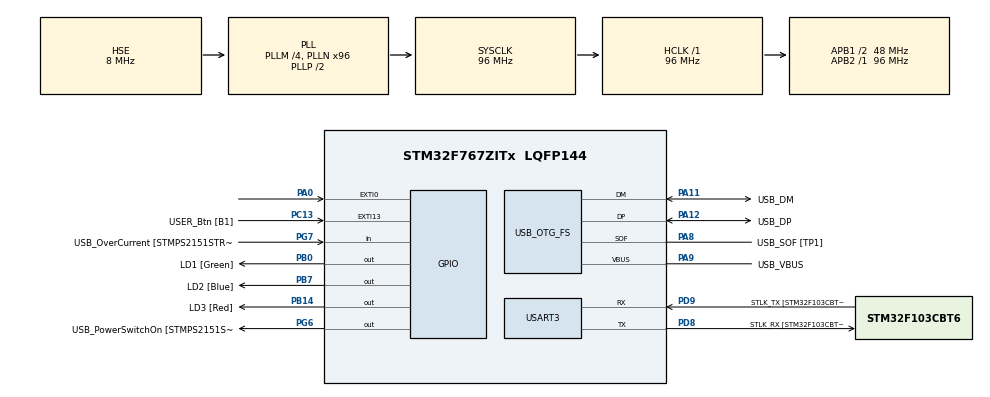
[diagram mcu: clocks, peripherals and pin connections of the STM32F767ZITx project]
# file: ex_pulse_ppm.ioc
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Mcu.Family=STM32F7
Mcu.Name=STM32F767ZITx
Mcu.Package=LQFP144
NVIC.EXTI0_IRQn=true\:0\:0\:false\:false\:true\:true\:true\:true
NVIC.PriorityGroup=NVIC_PRIORITYGROUP_4
NVIC.TIM2_IRQn=true\:0\:0\:false\:false\:true\:true\:true\:true
NVIC.USART3_IRQn=true\:0\:0\:false\:false\:true\:true\:true\:true
PA0/WKUP.GPIO_ModeDefaultEXTI=GPIO_MODE_IT_RISING
PA0/WKUP.Signal=GPXTI0
PA1.GPIO_Label=RMII_REF_CLK [LAN8742A-CZ-TR_REFCLK0]
PA1.Signal=ETH_REF_CLK
PA10.GPIO_Label=USB_ID
PA10.Signal=USB_OTG_FS_ID
PA11.GPIO_Label=USB_DM
PA11.Mode=Device_Only
PA11.Signal=USB_OTG_FS_DM
PA12.GPIO_Label=USB_DP
PA12.Mode=Device_Only
PA12.Signal=USB_OTG_FS_DP
PA13.GPIO_Label=TMS
PA13.Mode=Serial_Wire
PA13.Signal=SYS_JTMS-SWDIO
PA14.GPIO_Label=TCK
PA14.Mode=Serial_Wire
PA14.Signal=SYS_JTCK-SWCLK
PA2.GPIO_Label=RMII_MDIO [LAN8742A-CZ-TR_MDIO]
PA2.Signal=ETH_MDIO
PA7.GPIO_Label=RMII_CRS_DV [LAN8742A-CZ-TR_CRS_DV]
PA7.Signal=ETH_CRS_DV
PA8.GPIO_Label=USB_SOF [TP1]
PA8.Mode=Activate_SOF_FS
PA8.Signal=USB_OTG_FS_SOF
PA9.GPIO_Label=USB_VBUS
PA9.Mode=Activate_VBUS
PA9.Signal=USB_OTG_FS_VBUS
PB0.GPIO_Label=LD1 [Green]
PB0.Signal=GPIO_Output
PB13.GPIO_Label=RMII_TXD1 [LAN8742A-CZ-TR_TXD1]
PB13.Signal=ETH_TXD1
PB14.GPIO_Label=LD3 [Red]
PB14.Signal=GPIO_Output
PB3.GPIO_Label=SWO
PB3.Signal=SYS_JTDO-SWO
PB7.GPIO_Label=LD2 [Blue]
PB7.Signal=GPIO_Output
PC1.GPIO_Label=RMII_MDC [LAN8742A-CZ-TR_MDC]
PC1.Signal=ETH_MDC
PC13.GPIO_Label=USER_Btn [B1]
PC13.Signal=GPXTI13
PC14/OSC32_IN.Mode=LSE-External-Oscillator
PC14/OSC32_IN.Signal=RCC_OSC32_IN
PC15/OSC32_OUT.Mode=LSE-External-Oscillator
PC15/OSC32_OUT.Signal=RCC_OSC32_OUT
PC4.GPIO_Label=RMII_RXD0 [LAN8742A-CZ-TR_RXD0]
PC4.Signal=ETH_RXD0
PC5.GPIO_Label=RMII_RXD1 [LAN8742A-CZ-TR_RXD1]
PC5.Signal=ETH_RXD1
PD8.GPIO_Label=STLK_RX [STM32F103CBT6_PA3]
PD8.Mode=Asynchronous
PD8.Signal=USART3_TX
PD9.GPIO_Label=STLK_TX [STM32F103CBT6_PA2]
PD9.Mode=Asynchronous
PD9.Signal=USART3_RX
PG11.GPIO_Label=RMII_TX_EN [LAN8742A-CZ-TR_TXEN]
PG11.Signal=ETH_TX_EN
PG13.GPIO_Label=RMII_TXD0 [LAN8742A-CZ-TR_TXD0]
PG13.Signal=ETH_TXD0
PG6.GPIO_Label=USB_PowerSwitchOn [STMPS2151STR_EN]
PG6.Signal=GPIO_Output
PG7.GPIO_Label=USB_OverCurrent [STMPS2151STR_FAULT]
PG7.Signal=GPIO_Input
PH0/OSC_IN.GPIO_Label=MCO [STM32F103CBT6_PA8]
PH0/OSC_IN.Mode=HSE-External-Clock-Source
PH0/OSC_IN.Signal=RCC_OSC_IN
PH1/OSC_OUT.Mode=HSE-External-Clock-Source
PH1/OSC_OUT.Signal=RCC_OSC_OUT
ProjectManager.HeapSize=0x200
ProjectManager.StackSize=0x400
ProjectManager.TargetToolchain=STM32CubeIDE
RCC.48MHZClocksFreq_Value=24000000
RCC.AHBFreq_Value=96000000
RCC.APB1CLKDivider=RCC_HCLK_DIV2
RCC.APB1Freq_Value=48000000
RCC.APB1TimFreq_Value=96000000
RCC.APB2Freq_Value=96000000
RCC.APB2TimFreq_Value=96000000
RCC.CortexFreq_Value=96000000
RCC.HCLKFreq_Value=96000000
RCC.HSE_VALUE=8000000
RCC.HSI_VALUE=16000000
RCC.PLLM=4
RCC.PLLMUL=RCC_PLL_MUL9
RCC.PLLN=96
RCC.PLLQ=4
RCC.PRESCALERUSB=RCC_USBCLKSOURCE_PLL_DIV1_5
RCC.SYSCLKFreq_VALUE=96000000
RCC.SYSCLKSource=RCC_SYSCLKSOURCE_PLLCLK
RCC.SYSCLKSourceVirtual=RCC_SYSCLKSOURCE_PLLCLK
RCC.USBFreq_Value=48000000
RCC.VCOOutputFreq_Value=192000000
TIM2.Prescaler=96-1
USART3.VirtualMode-Asynchronous=VM_ASYNC
USB_OTG_FS.VirtualMode=Device_Only
VP_TIM2_VS_ClockSourceINT.Mode=Internal
board=NUCLEO-F767ZI

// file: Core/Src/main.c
/* USER CODE BEGIN Header */
/**
  ******************************************************************************
  * @file           : main.c
  * @brief          : Main program body
  ******************************************************************************
  * @attention
  *
  * Copyright (c) 2022 STMicroelectronics.
  * All rights reserved.
  *
  * This software is licensed under terms that can be found in the LICENSE file
  * in the root directory of this software component.
  * If no LICENSE file comes with this software, it is provided AS-IS.
  *
  ******************************************************************************
  */
/* USER CODE END Header */
#include "main.h"

/* USER CODE BEGIN Includes */
#include "app_main.h"

#include "core/pif_log.h"

/* USER CODE END Includes */

TIM_HandleTypeDef htim2;

UART_HandleTypeDef huart3;

PCD_HandleTypeDef hpcd_USB_OTG_FS;

/* USER CODE BEGIN PV */
static uint16_t s_usLogTx;

/* USER CODE END PV */

void SystemClock_Config(void);
static void MX_GPIO_Init(void);
static void MX_USART3_UART_Init(void);
static void MX_USB_OTG_FS_PCD_Init(void);
static void MX_TIM2_Init(void);

/* USER CODE BEGIN 0 */
uint32_t micros()
{
    return htim2.Instance->CNT;
}

BOOL actLogStartTransfer(PifComm* p_comm)
{
	uint8_t *pucData, ucState;

	s_usLogTx = 0;
	ucState = pifComm_StartGetTxData(p_comm, &pucData, &s_usLogTx);
	if (ucState & PIF_COMM_SEND_DATA_STATE_DATA) {
		HAL_UART_Transmit_IT(&huart3, pucData, s_usLogTx);
		return TRUE;
	}
	return FALSE;
}

void HAL_UART_TxCpltCallback(UART_HandleTypeDef *huart)
{
	uint8_t *pucData, ucState;

  if (huart->Instance == USART3) {
		ucState = pifComm_EndGetTxData(&g_comm_log, s_usLogTx);
		if (ucState & PIF_COMM_SEND_DATA_STATE_EMPTY) {
			pifComm_FinishTransfer(&g_comm_log);
		}
		else {
			s_usLogTx = 0;
			ucState = pifComm_StartGetTxData(&g_comm_log, &pucData, &s_usLogTx);
			if (ucState & PIF_COMM_SEND_DATA_STATE_DATA) {
				HAL_UART_Transmit_IT(huart, pucData, s_usLogTx);
			}
		}
	}
}

void actLedL(SWITCH sw)
{
	HAL_GPIO_WritePin(LD2_GPIO_Port, LD2_Pin, sw);
}

void HAL_GPIO_EXTI_Callback(uint16_t GPIO_Pin)
{
	pifPulse_sigTick(&g_pulse, micros());
}

/* USER CODE END 0 */

int main(void)
{

  /* MCU Configuration--------------------------------------------------------*/

  /* Reset of all peripherals, Initializes the Flash interface and the Systick. */
  HAL_Init();

  /* Configure the system clock */
  SystemClock_Config();

  /* Initialize all configured peripherals */
  MX_GPIO_Init();
  MX_USART3_UART_Init();
  MX_USB_OTG_FS_PCD_Init();
  MX_TIM2_Init();
  /* USER CODE BEGIN 2 */
  HAL_TIM_IC_Start_IT(&htim2, TIM_CHANNEL_1);

  appSetup(micros);

  /* USER CODE END 2 */

  /* Infinite loop */
  /* USER CODE BEGIN WHILE */
  while (1)
  {
	pifTaskManager_Loop();
    /* USER CODE END WHILE */

  }
}

void SystemClock_Config(void)
{
  RCC_OscInitTypeDef RCC_OscInitStruct = {0};
  RCC_ClkInitTypeDef RCC_ClkInitStruct = {0};

  /** Configure LSE Drive Capability
  */
  HAL_PWR_EnableBkUpAccess();
  /** Configure the main internal regulator output voltage
  */
  __HAL_RCC_PWR_CLK_ENABLE();
  __HAL_PWR_VOLTAGESCALING_CONFIG(PWR_REGULATOR_VOLTAGE_SCALE3);
  /** Initializes the RCC Oscillators according to the specified parameters
  * in the RCC_OscInitTypeDef structure.
  */
  RCC_OscInitStruct.OscillatorType = RCC_OSCILLATORTYPE_HSE;
  RCC_OscInitStruct.HSEState = RCC_HSE_BYPASS;
  RCC_OscInitStruct.PLL.PLLState = RCC_PLL_ON;
  RCC_OscInitStruct.PLL.PLLSource = RCC_PLLSOURCE_HSE;
  RCC_OscInitStruct.PLL.PLLM = 4;
  RCC_OscInitStruct.PLL.PLLN = 96;
  RCC_OscInitStruct.PLL.PLLP = RCC_PLLP_DIV2;
  RCC_OscInitStruct.PLL.PLLQ = 4;
  RCC_OscInitStruct.PLL.PLLR = 2;
  if (HAL_RCC_OscConfig(&RCC_OscInitStruct) != HAL_OK)
  {
    Error_Handler();
  }
  /** Activate the Over-Drive mode
  */
  if (HAL_PWREx_EnableOverDrive() != HAL_OK)
  {
    Error_Handler();
  }
  /** Initializes the CPU, AHB and APB buses clocks
  */
  RCC_ClkInitStruct.ClockType = RCC_CLOCKTYPE_HCLK|RCC_CLOCKTYPE_SYSCLK
                              |RCC_CLOCKTYPE_PCLK1|RCC_CLOCKTYPE_PCLK2;
  RCC_ClkInitStruct.SYSCLKSource = RCC_SYSCLKSOURCE_PLLCLK;
  RCC_ClkInitStruct.AHBCLKDivider = RCC_SYSCLK_DIV1;
  RCC_ClkInitStruct.APB1CLKDivider = RCC_HCLK_DIV2;
  RCC_ClkInitStruct.APB2CLKDivider = RCC_HCLK_DIV1;

  if (HAL_RCC_ClockConfig(&RCC_ClkInitStruct, FLASH_LATENCY_3) != HAL_OK)
  {
    Error_Handler();
  }
}

static void MX_TIM2_Init(void)
{

  TIM_ClockConfigTypeDef sClockSourceConfig = {0};
  TIM_MasterConfigTypeDef sMasterConfig = {0};

  htim2.Instance = TIM2;
  htim2.Init.Prescaler = 96-1;
  htim2.Init.CounterMode = TIM_COUNTERMODE_UP;
  htim2.Init.Period = 4294967295;
  htim2.Init.ClockDivision = TIM_CLOCKDIVISION_DIV1;
  htim2.Init.AutoReloadPreload = TIM_AUTORELOAD_PRELOAD_DISABLE;
  if (HAL_TIM_Base_Init(&htim2) != HAL_OK)
  {
    Error_Handler();
  }
  sClockSourceConfig.ClockSource = TIM_CLOCKSOURCE_INTERNAL;
  if (HAL_TIM_ConfigClockSource(&htim2, &sClockSourceConfig) != HAL_OK)
  {
    Error_Handler();
  }
  sMasterConfig.MasterOutputTrigger = TIM_TRGO_RESET;
  sMasterConfig.MasterSlaveMode = TIM_MASTERSLAVEMODE_DISABLE;
  if (HAL_TIMEx_MasterConfigSynchronization(&htim2, &sMasterConfig) != HAL_OK)
  {
    Error_Handler();
  }

}

static void MX_USART3_UART_Init(void)
{

  huart3.Instance = USART3;
  huart3.Init.BaudRate = 115200;
  huart3.Init.WordLength = UART_WORDLENGTH_8B;
  huart3.Init.StopBits = UART_STOPBITS_1;
  huart3.Init.Parity = UART_PARITY_NONE;
  huart3.Init.Mode = UART_MODE_TX_RX;
  huart3.Init.HwFlowCtl = UART_HWCONTROL_NONE;
  huart3.Init.OverSampling = UART_OVERSAMPLING_16;
  huart3.Init.OneBitSampling = UART_ONE_BIT_SAMPLE_DISABLE;
  huart3.AdvancedInit.AdvFeatureInit = UART_ADVFEATURE_NO_INIT;
  if (HAL_UART_Init(&huart3) != HAL_OK)
  {
    Error_Handler();
  }

}

static void MX_USB_OTG_FS_PCD_Init(void)
{

  hpcd_USB_OTG_FS.Instance = USB_OTG_FS;
  hpcd_USB_OTG_FS.Init.dev_endpoints = 6;
  hpcd_USB_OTG_FS.Init.speed = PCD_SPEED_FULL;
  hpcd_USB_OTG_FS.Init.dma_enable = DISABLE;
  hpcd_USB_OTG_FS.Init.phy_itface = PCD_PHY_EMBEDDED;
  hpcd_USB_OTG_FS.Init.Sof_enable = ENABLE;
  hpcd_USB_OTG_FS.Init.low_power_enable = DISABLE;
  hpcd_USB_OTG_FS.Init.lpm_enable = DISABLE;
  hpcd_USB_OTG_FS.Init.vbus_sensing_enable = ENABLE;
  hpcd_USB_OTG_FS.Init.use_dedicated_ep1 = DISABLE;
  if (HAL_PCD_Init(&hpcd_USB_OTG_FS) != HAL_OK)
  {
    Error_Handler();
  }

}

static void MX_GPIO_Init(void)
{
  GPIO_InitTypeDef GPIO_InitStruct = {0};

  /* GPIO Ports Clock Enable */
  __HAL_RCC_GPIOC_CLK_ENABLE();
  __HAL_RCC_GPIOH_CLK_ENABLE();
  __HAL_RCC_GPIOA_CLK_ENABLE();
  __HAL_RCC_GPIOB_CLK_ENABLE();
  __HAL_RCC_GPIOD_CLK_ENABLE();
  __HAL_RCC_GPIOG_CLK_ENABLE();

  /*Configure GPIO pin Output Level */
  HAL_GPIO_WritePin(GPIOB, LD1_Pin|LD3_Pin|LD2_Pin, GPIO_PIN_RESET);

  /*Configure GPIO pin Output Level */
  HAL_GPIO_WritePin(USB_PowerSwitchOn_GPIO_Port, USB_PowerSwitchOn_Pin, GPIO_PIN_RESET);

  /*Configure GPIO pin : USER_Btn_Pin */
  GPIO_InitStruct.Pin = USER_Btn_Pin;
  GPIO_InitStruct.Mode = GPIO_MODE_IT_RISING;
  GPIO_InitStruct.Pull = GPIO_NOPULL;
  HAL_GPIO_Init(USER_Btn_GPIO_Port, &GPIO_InitStruct);

  /*Configure GPIO pins : RMII_MDC_Pin RMII_RXD0_Pin RMII_RXD1_Pin */
  GPIO_InitStruct.Pin = RMII_MDC_Pin|RMII_RXD0_Pin|RMII_RXD1_Pin;
  GPIO_InitStruct.Mode = GPIO_MODE_AF_PP;
  GPIO_InitStruct.Pull = GPIO_NOPULL;
  GPIO_InitStruct.Speed = GPIO_SPEED_FREQ_VERY_HIGH;
  GPIO_InitStruct.Alternate = GPIO_AF11_ETH;
  HAL_GPIO_Init(GPIOC, &GPIO_InitStruct);

  /*Configure GPIO pin : PA0 */
  GPIO_InitStruct.Pin = GPIO_PIN_0;
  GPIO_InitStruct.Mode = GPIO_MODE_IT_RISING;
  GPIO_InitStruct.Pull = GPIO_NOPULL;
  HAL_GPIO_Init(GPIOA, &GPIO_InitStruct);

  /*Configure GPIO pins : RMII_REF_CLK_Pin RMII_MDIO_Pin RMII_CRS_DV_Pin */
  GPIO_InitStruct.Pin = RMII_REF_CLK_Pin|RMII_MDIO_Pin|RMII_CRS_DV_Pin;
  GPIO_InitStruct.Mode = GPIO_MODE_AF_PP;
  GPIO_InitStruct.Pull = GPIO_NOPULL;
  GPIO_InitStruct.Speed = GPIO_SPEED_FREQ_VERY_HIGH;
  GPIO_InitStruct.Alternate = GPIO_AF11_ETH;
  HAL_GPIO_Init(GPIOA, &GPIO_InitStruct);

  /*Configure GPIO pins : LD1_Pin LD3_Pin LD2_Pin */
  GPIO_InitStruct.Pin = LD1_Pin|LD3_Pin|LD2_Pin;
  GPIO_InitStruct.Mode = GPIO_MODE_OUTPUT_PP;
  GPIO_InitStruct.Pull = GPIO_NOPULL;
  GPIO_InitStruct.Speed = GPIO_SPEED_FREQ_LOW;
  HAL_GPIO_Init(GPIOB, &GPIO_InitStruct);

  /*Configure GPIO pin : RMII_TXD1_Pin */
  GPIO_InitStruct.Pin = RMII_TXD1_Pin;
  GPIO_InitStruct.Mode = GPIO_MODE_AF_PP;
  GPIO_InitStruct.Pull = GPIO_NOPULL;
  GPIO_InitStruct.Speed = GPIO_SPEED_FREQ_VERY_HIGH;
  GPIO_InitStruct.Alternate = GPIO_AF11_ETH;
  HAL_GPIO_Init(RMII_TXD1_GPIO_Port, &GPIO_InitStruct);

  /*Configure GPIO pin : USB_PowerSwitchOn_Pin */
  GPIO_InitStruct.Pin = USB_PowerSwitchOn_Pin;
  GPIO_InitStruct.Mode = GPIO_MODE_OUTPUT_PP;
  GPIO_InitStruct.Pull = GPIO_NOPULL;
  GPIO_InitStruct.Speed = GPIO_SPEED_FREQ_LOW;
  HAL_GPIO_Init(USB_PowerSwitchOn_GPIO_Port, &GPIO_InitStruct);

  /*Configure GPIO pin : USB_OverCurrent_Pin */
  GPIO_InitStruct.Pin = USB_OverCurrent_Pin;
  GPIO_InitStruct.Mode = GPIO_MODE_INPUT;
  GPIO_InitStruct.Pull = GPIO_NOPULL;
  HAL_GPIO_Init(USB_OverCurrent_GPIO_Port, &GPIO_InitStruct);

  /*Configure GPIO pins : RMII_TX_EN_Pin RMII_TXD0_Pin */
  GPIO_InitStruct.Pin = RMII_TX_EN_Pin|RMII_TXD0_Pin;
  GPIO_InitStruct.Mode = GPIO_MODE_AF_PP;
  GPIO_InitStruct.Pull = GPIO_NOPULL;
  GPIO_InitStruct.Speed = GPIO_SPEED_FREQ_VERY_HIGH;
  GPIO_InitStruct.Alternate = GPIO_AF11_ETH;
  HAL_GPIO_Init(GPIOG, &GPIO_InitStruct);

  /* EXTI interrupt init*/
  HAL_NVIC_SetPriority(EXTI0_IRQn, 0, 0);
  HAL_NVIC_EnableIRQ(EXTI0_IRQn);

}

void Error_Handler(void)
{
  __disable_irq();
  while (1)
  {
  }
}
